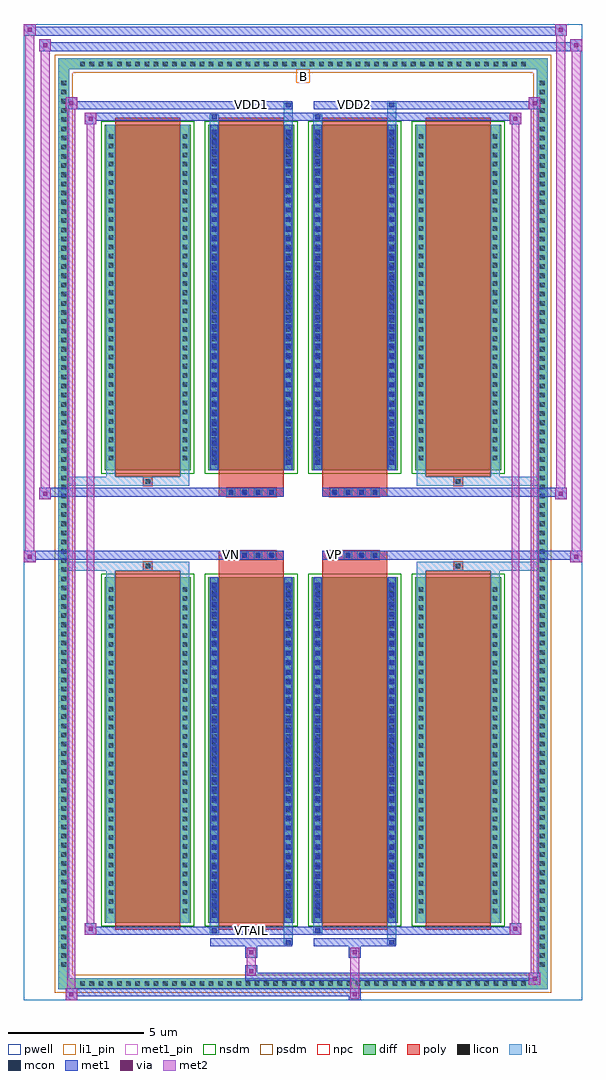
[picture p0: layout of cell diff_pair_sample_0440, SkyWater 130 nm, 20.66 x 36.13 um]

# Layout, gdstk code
import gdstk
lib = gdstk.Library(unit=1e-6, precision=5e-09)
def R(c, l, rs):  # rectangles x0, y0, x1, y1
    for r in rs: c.add(gdstk.rectangle(r[:2], r[2:], *l))
def A(c, l, x, y, w, h, nx, ny, dx, dy):  # array of equal rectangles
    R(c, l, [(x+i*dx, y+j*dy, x+i*dx+w, y+j*dy+h) for i in range(nx) for j in range(ny)])
def P(c, l, *ps):  # polygons
    for p in ps: c.add(gdstk.Polygon(p, *l))
pwell = (64, 44)
diff = (65, 20)
poly = (66, 20)
licon = (66, 44)
li1_pin = (67, 16)
li1 = (67, 20)
mcon = (67, 44)
met1_pin = (68, 16)
met1 = (68, 20)
via = (68, 44)
met2 = (69, 20)
nsdm = (93, 44)
psdm = (94, 20)
npc = (95, 20)

diff_pair_sample_0440 = lib.new_cell('diff_pair_sample_0440')
R(diff_pair_sample_0440, pwell, [(-10.33,-17.63,10.33,18.5), (-7.65,-15.82,-0.01,-0.8), (0.01,-15.82,7.65,-0.8), (-7.65,0.8,-0.01,15.82), (0.01,0.8,7.65,15.82)])
A(diff_pair_sample_0440, diff, -8.365, -17.23, 0.41, 0.41, 49, 2, 0.34, 34.05)
A(diff_pair_sample_0440, diff, -9.06, -16.525, 0.41, 0.41, 1, 97, 0, 0.34)
A(diff_pair_sample_0440, diff, 8.65, -16.525, 0.41, 0.41, 1, 97, 0, 0.34)
A(diff_pair_sample_0440, diff, -7.34, -14.775, 3.19, 12.79, 4, 2, 3.83, 16.76)
R(diff_pair_sample_0440, diff, [(-8.365,-17.23,8.365,-16.82), (-9.06,-16.525,-8.65,16.525), (8.65,-16.525,9.06,16.525), (-8.365,16.82,8.365,17.23)])
P(diff_pair_sample_0440, diff, [(9.06,17.23),(-9.06,17.23),(-9.06,-16.82),(-8.65,-16.82),(-8.65,16.82),(8.65,16.82),(8.65,-16.82),(-8.65,-16.82),(-9.06,-16.82),(-9.06,-17.23),(9.06,-17.23)])
A(diff_pair_sample_0440, poly, -6.95, -15.025, 2.41, 13.29, 4, 2, 3.83, 16.76)
A(diff_pair_sample_0440, poly, -2.83, -1.33, 0.33, 0.33, 4, 2, 0.5, 2.33)
A(diff_pair_sample_0440, poly, 1, -1.33, 0.33, 0.33, 4, 2, 0.5, 2.33)
R(diff_pair_sample_0440, poly, [(-5.91,-1.735,-5.58,-1.405), (-5.91,-1.735,-5.58,-1.405), (-3.12,-1.735,-0.71,-1.33), (0.71,-1.735,3.12,-1.33), (5.58,-1.735,5.91,-1.405), (5.58,-1.735,5.91,-1.405), (-3.12,-1.33,-0.71,-1), (0.71,-1.33,3.12,-1), (-3.12,1,-0.71,1.33), (0.71,1,3.12,1.33), (-3.12,1.33,-0.71,1.735), (0.71,1.33,3.12,1.735), (-5.91,1.405,-5.58,1.735), (-5.91,1.405,-5.58,1.735), (5.58,1.405,5.91,1.735), (5.58,1.405,5.91,1.735)])
A(diff_pair_sample_0440, licon, -8.245, -17.11, 0.17, 0.17, 49, 2, 0.34, 34.05)
A(diff_pair_sample_0440, licon, -8.94, -16.405, 0.17, 0.17, 1, 97, 0, 0.34)
A(diff_pair_sample_0440, licon, 8.77, -16.405, 0.17, 0.17, 1, 97, 0, 0.34)
A(diff_pair_sample_0440, licon, -7.2, -14.415, 0.17, 0.17, 1, 36, 0, 0.34)
A(diff_pair_sample_0440, licon, -4.46, -14.415, 0.17, 0.17, 1, 36, 0, 0.34)
A(diff_pair_sample_0440, licon, -3.37, -14.415, 0.17, 0.17, 1, 36, 0, 0.34)
A(diff_pair_sample_0440, licon, -0.63, -14.415, 0.17, 0.17, 1, 36, 0, 0.34)
A(diff_pair_sample_0440, licon, 0.46, -14.415, 0.17, 0.17, 1, 36, 0, 0.34)
A(diff_pair_sample_0440, licon, 3.2, -14.415, 0.17, 0.17, 1, 36, 0, 0.34)
A(diff_pair_sample_0440, licon, 4.29, -14.415, 0.17, 0.17, 1, 36, 0, 0.34)
A(diff_pair_sample_0440, licon, 7.03, -14.415, 0.17, 0.17, 1, 36, 0, 0.34)
A(diff_pair_sample_0440, licon, -2.75, -1.25, 0.17, 0.17, 4, 2, 0.5, 2.33)
A(diff_pair_sample_0440, licon, 1.08, -1.25, 0.17, 0.17, 4, 2, 0.5, 2.33)
A(diff_pair_sample_0440, licon, -7.2, 2.345, 0.17, 0.17, 1, 36, 0, 0.34)
A(diff_pair_sample_0440, licon, -4.46, 2.345, 0.17, 0.17, 1, 36, 0, 0.34)
A(diff_pair_sample_0440, licon, -3.37, 2.345, 0.17, 0.17, 1, 36, 0, 0.34)
A(diff_pair_sample_0440, licon, -0.63, 2.345, 0.17, 0.17, 1, 36, 0, 0.34)
A(diff_pair_sample_0440, licon, 0.46, 2.345, 0.17, 0.17, 1, 36, 0, 0.34)
A(diff_pair_sample_0440, licon, 3.2, 2.345, 0.17, 0.17, 1, 36, 0, 0.34)
A(diff_pair_sample_0440, licon, 4.29, 2.345, 0.17, 0.17, 1, 36, 0, 0.34)
A(diff_pair_sample_0440, licon, 7.03, 2.345, 0.17, 0.17, 1, 36, 0, 0.34)
R(diff_pair_sample_0440, licon, [(-5.83,-1.655,-5.66,-1.485), (5.66,-1.655,5.83,-1.485), (-5.83,1.485,-5.66,1.655), (5.66,1.485,5.83,1.655)])
R(diff_pair_sample_0440, li1_pin, [(-0.25,16.32,0.25,16.82)])
A(diff_pair_sample_0440, li1, -8.325, -17.19, 0.33, 0.33, 49, 2, 0.34, 34.05)
A(diff_pair_sample_0440, li1, -9.02, -16.485, 0.33, 0.33, 1, 97, 0, 0.34)
A(diff_pair_sample_0440, li1, 8.69, -16.485, 0.33, 0.33, 1, 97, 0, 0.34)
A(diff_pair_sample_0440, li1, -3.37, -14.585, 0.17, 0.17, 1, 35, 0, 0.36)
A(diff_pair_sample_0440, li1, -0.63, -14.585, 0.17, 0.17, 1, 35, 0, 0.36)
A(diff_pair_sample_0440, li1, 0.46, -14.585, 0.17, 0.17, 1, 35, 0, 0.36)
A(diff_pair_sample_0440, li1, 3.2, -14.585, 0.17, 0.17, 1, 35, 0, 0.36)
A(diff_pair_sample_0440, li1, -7.28, -14.495, 0.33, 0.33, 1, 36, 0, 0.34)
A(diff_pair_sample_0440, li1, -4.54, -14.495, 0.33, 0.33, 1, 36, 0, 0.34)
A(diff_pair_sample_0440, li1, -3.45, -14.495, 0.33, 0.33, 1, 36, 0, 0.34)
A(diff_pair_sample_0440, li1, -0.71, -14.495, 0.33, 0.33, 1, 36, 0, 0.34)
A(diff_pair_sample_0440, li1, 0.38, -14.495, 0.33, 0.33, 1, 36, 0, 0.34)
A(diff_pair_sample_0440, li1, 3.12, -14.495, 0.33, 0.33, 1, 36, 0, 0.34)
A(diff_pair_sample_0440, li1, 4.21, -14.495, 0.33, 0.33, 1, 36, 0, 0.34)
A(diff_pair_sample_0440, li1, 6.95, -14.495, 0.33, 0.33, 1, 36, 0, 0.34)
A(diff_pair_sample_0440, li1, -2.83, -1.33, 0.33, 0.33, 4, 2, 0.5, 2.33)
A(diff_pair_sample_0440, li1, 1, -1.33, 0.33, 0.33, 4, 2, 0.5, 2.33)
A(diff_pair_sample_0440, li1, -3.37, 2.175, 0.17, 0.17, 1, 35, 0, 0.36)
A(diff_pair_sample_0440, li1, -0.63, 2.175, 0.17, 0.17, 1, 35, 0, 0.36)
A(diff_pair_sample_0440, li1, 0.46, 2.175, 0.17, 0.17, 1, 35, 0, 0.36)
A(diff_pair_sample_0440, li1, 3.2, 2.175, 0.17, 0.17, 1, 35, 0, 0.36)
A(diff_pair_sample_0440, li1, -7.28, 2.265, 0.33, 0.33, 1, 36, 0, 0.34)
A(diff_pair_sample_0440, li1, -4.54, 2.265, 0.33, 0.33, 1, 36, 0, 0.34)
A(diff_pair_sample_0440, li1, -3.45, 2.265, 0.33, 0.33, 1, 36, 0, 0.34)
A(diff_pair_sample_0440, li1, -0.71, 2.265, 0.33, 0.33, 1, 36, 0, 0.34)
A(diff_pair_sample_0440, li1, 0.38, 2.265, 0.33, 0.33, 1, 36, 0, 0.34)
A(diff_pair_sample_0440, li1, 3.12, 2.265, 0.33, 0.33, 1, 36, 0, 0.34)
A(diff_pair_sample_0440, li1, 4.21, 2.265, 0.33, 0.33, 1, 36, 0, 0.34)
A(diff_pair_sample_0440, li1, 6.95, 2.265, 0.33, 0.33, 1, 36, 0, 0.34)
R(diff_pair_sample_0440, li1, [(-9.06,-17.23,-8.65,-16.82), (-9.06,-17.23,-8.65,-16.82), (-8.65,-17.23,8.65,-16.82), (8.65,-17.23,9.06,-16.82), (8.65,-17.23,9.06,-16.82), (-9.06,-16.82,-8.65,16.82), (8.65,-16.82,9.06,16.82), (-0.71,-15.58,-0.38,-14.775), (-0.63,-15.58,-0.46,-15.41), (3.12,-15.58,3.45,-14.775), (3.2,-15.58,3.37,-15.41), (-3.45,-15.15,-3.12,-14.775), (-3.37,-15.15,-3.2,-14.98), (0.38,-15.15,0.71,-14.775), (0.46,-15.15,0.63,-14.98), (-7.28,-14.775,-6.95,-1.985), (-4.54,-14.775,-4.21,-1.985), (-3.45,-14.775,-3.12,-1.985), (-0.71,-14.775,-0.38,-1.985), (0.38,-14.775,0.71,-1.985), (3.12,-14.775,3.45,-1.985), (4.21,-14.775,4.54,-1.985), (6.95,-14.775,7.28,-1.985), (-3.37,-14.585,-3.2,-2.175), (-0.63,-14.585,-0.46,-2.175), (0.46,-14.585,0.63,-2.175), (3.2,-14.585,3.37,-2.175), (-7.28,-1.985,-6.95,-1.405), (-4.54,-1.985,-4.21,-1.405), (4.21,-1.985,4.54,-1.405), (6.95,-1.985,7.28,-1.405), (-9.06,-1.735,-5.91,-1.405), (-7.28,-1.735,-5.91,-1.405), (-5.91,-1.735,-5.58,-1.405), (-5.58,-1.735,-4.21,-1.405), (4.21,-1.735,5.58,-1.405), (5.58,-1.735,5.91,-1.405), (5.58,-1.735,9.06,-1.405), (5.91,-1.735,7.28,-1.405), (-9.06,1.405,-5.91,1.735), (-7.28,1.405,-5.91,1.735), (-7.28,1.405,-6.95,1.985), (-5.91,1.405,-5.58,1.735), (-5.58,1.405,-4.21,1.735), (-4.54,1.405,-4.21,1.985), (4.21,1.405,5.58,1.735), (4.21,1.405,4.54,1.985), (5.58,1.405,5.91,1.735), (5.58,1.405,9.06,1.735), (5.91,1.405,7.28,1.735), (6.95,1.405,7.28,1.985), (-7.28,1.985,-6.95,14.775), (-4.54,1.985,-4.21,14.775), (-3.45,1.985,-3.12,14.775), (-0.71,1.985,-0.38,14.775), (0.38,1.985,0.71,14.775), (3.12,1.985,3.45,14.775), (4.21,1.985,4.54,14.775), (6.95,1.985,7.28,14.775), (-3.37,2.175,-3.2,14.585), (-0.63,2.175,-0.46,14.585), (0.46,2.175,0.63,14.585), (3.2,2.175,3.37,14.585), (-3.45,14.775,-3.12,15.15), (-0.71,14.775,-0.38,15.58), (0.38,14.775,0.71,15.15), (3.12,14.775,3.45,15.58), (-3.37,14.98,-3.2,15.15), (0.46,14.98,0.63,15.15), (-0.63,15.41,-0.46,15.58), (3.2,15.41,3.37,15.58), (-9.06,16.82,-8.65,17.23), (-9.06,16.82,-8.65,17.23), (-8.65,16.82,8.65,17.23), (8.65,16.82,9.06,17.23), (8.65,16.82,9.06,17.23)])
A(diff_pair_sample_0440, mcon, -3.37, -14.585, 0.17, 0.17, 1, 35, 0, 0.36)
A(diff_pair_sample_0440, mcon, -0.63, -14.585, 0.17, 0.17, 1, 35, 0, 0.36)
A(diff_pair_sample_0440, mcon, 0.46, -14.585, 0.17, 0.17, 1, 35, 0, 0.36)
A(diff_pair_sample_0440, mcon, 3.2, -14.585, 0.17, 0.17, 1, 35, 0, 0.36)
A(diff_pair_sample_0440, mcon, -2.75, -1.25, 0.17, 0.17, 4, 2, 0.5, 2.33)
A(diff_pair_sample_0440, mcon, 1.08, -1.25, 0.17, 0.17, 4, 2, 0.5, 2.33)
A(diff_pair_sample_0440, mcon, -3.37, 2.175, 0.17, 0.17, 1, 35, 0, 0.36)
A(diff_pair_sample_0440, mcon, -0.63, 2.175, 0.17, 0.17, 1, 35, 0, 0.36)
A(diff_pair_sample_0440, mcon, 0.46, 2.175, 0.17, 0.17, 1, 35, 0, 0.36)
A(diff_pair_sample_0440, mcon, 3.2, 2.175, 0.17, 0.17, 1, 35, 0, 0.36)
R(diff_pair_sample_0440, mcon, [(-0.63,-15.58,-0.46,-15.41), (3.2,-15.58,3.37,-15.41), (-3.37,-15.15,-3.2,-14.98), (0.46,-15.15,0.63,-14.98), (-3.37,14.98,-3.2,15.15), (0.46,14.98,0.63,15.15), (-0.63,15.41,-0.46,15.58), (3.2,15.41,3.37,15.58)])
R(diff_pair_sample_0440, met1_pin, [(-2.05,-15.19,-1.78,-14.92), (-2.8,-1.29,-2.53,-1.02), (1.03,-1.29,1.3,-1.02), (-2.05,15.37,-1.78,15.64), (1.78,15.37,2.05,15.64)])
A(diff_pair_sample_0440, met1, -3.43, -14.645, 0.29, 0.29, 1, 35, 0, 0.36)
A(diff_pair_sample_0440, met1, -0.69, -14.645, 0.29, 0.29, 1, 35, 0, 0.36)
A(diff_pair_sample_0440, met1, 0.4, -14.645, 0.29, 0.29, 1, 35, 0, 0.36)
A(diff_pair_sample_0440, met1, 3.14, -14.645, 0.29, 0.29, 1, 35, 0, 0.36)
A(diff_pair_sample_0440, met1, -2.81, -1.31, 0.29, 0.29, 4, 2, 0.5, 2.33)
A(diff_pair_sample_0440, met1, 1.02, -1.31, 0.29, 0.29, 4, 2, 0.5, 2.33)
A(diff_pair_sample_0440, met1, -3.43, 2.115, 0.29, 0.29, 1, 35, 0, 0.36)
A(diff_pair_sample_0440, met1, -0.69, 2.115, 0.29, 0.29, 1, 35, 0, 0.36)
A(diff_pair_sample_0440, met1, 0.4, 2.115, 0.29, 0.29, 1, 35, 0, 0.36)
A(diff_pair_sample_0440, met1, 3.14, 2.115, 0.29, 0.29, 1, 35, 0, 0.36)
R(diff_pair_sample_0440, met1, [(-8.79,-17.63,-8.36,-17.2), (1.7,-17.63,2.13,-17.2), (-8.79,-17.49,2.13,-17.2), (8.36,-17.06,8.79,-16.63), (-2.13,-16.92,8.79,-16.63), (-2.13,-16.78,-1.7,-16.35), (-2.13,-16.07,-1.7,-15.64), (1.7,-16.07,2.13,-15.64), (-3.43,-15.64,-0.4,-15.35), (-0.69,-15.64,-0.4,-15.35), (0.4,-15.64,3.43,-15.35), (3.14,-15.64,3.43,-15.35), (-8.08,-15.21,-7.65,-14.78), (-8.08,-15.21,-3.43,-14.92), (-3.43,-15.21,-3.14,-14.92), (-3.43,-15.21,-0.4,-14.92), (-0.4,-15.21,0.4,-14.92), (0.4,-15.21,0.69,-14.92), (0.4,-15.21,3.43,-14.92), (3.43,-15.21,8.08,-14.92), (7.65,-15.21,8.08,-14.78), (-3.43,-14.775,-3.14,-1.985), (-0.69,-14.775,-0.4,-1.985), (0.4,-14.775,0.69,-1.985), (3.14,-14.775,3.43,-1.985), (-10.33,-1.43,-9.9,-1), (9.9,-1.43,10.33,-1), (-10.33,-1.33,-0.71,-1), (-3.12,-1.33,-0.71,-1), (0.71,-1.33,3.12,-1), (0.71,-1.33,10.33,-1), (-9.76,0.9,-9.33,1.33), (9.33,0.9,9.76,1.33), (-9.76,1,-3.12,1.33), (-3.12,1,-0.71,1.33), (0.71,1,3.12,1.33), (3.12,1,9.76,1.33), (-3.43,1.985,-3.14,14.775), (-0.69,1.985,-0.4,14.775), (0.4,1.985,0.69,14.775), (3.14,1.985,3.43,14.775), (-8.08,14.78,-7.65,15.21), (7.65,14.78,8.08,15.21), (-8.08,14.92,-3.43,15.21), (-3.43,14.92,-3.14,15.21), (-3.43,14.92,-0.4,15.21), (-0.4,14.92,0.4,15.21), (0.4,14.92,0.69,15.21), (0.4,14.92,3.43,15.21), (3.43,14.92,8.08,15.21), (-8.79,15.35,-8.36,15.78), (-8.79,15.35,-3.43,15.64), (-3.43,15.35,-0.4,15.64), (-0.69,15.35,-0.4,15.64), (0.4,15.35,3.43,15.64), (3.14,15.35,3.43,15.64), (3.43,15.35,8.79,15.64), (8.36,15.35,8.79,15.78), (-9.76,17.5,-9.33,17.93), (-9.76,17.5,-7.65,17.83), (-7.65,17.5,7.65,17.83), (7.65,17.5,10.33,17.83), (9.9,17.5,10.33,17.93), (-10.33,18.07,-9.9,18.5), (-10.33,18.07,-7.65,18.4), (-7.65,18.07,7.65,18.4), (7.65,18.07,9.76,18.4), (9.33,18.07,9.76,18.5)])
R(diff_pair_sample_0440, via, [(-8.65,-17.49,-8.5,-17.34), (1.84,-17.49,1.99,-17.34), (8.5,-16.92,8.65,-16.77), (-1.99,-16.64,-1.84,-16.49), (-1.99,-15.93,-1.84,-15.78), (1.84,-15.93,1.99,-15.78), (-7.94,-15.07,-7.79,-14.92), (7.79,-15.07,7.94,-14.92), (-10.19,-1.29,-10.04,-1.14), (10.04,-1.29,10.19,-1.14), (-9.62,1.04,-9.47,1.19), (9.47,1.04,9.62,1.19), (-7.94,14.92,-7.79,15.07), (7.79,14.92,7.94,15.07), (-8.65,15.49,-8.5,15.64), (8.5,15.49,8.65,15.64), (-9.62,17.64,-9.47,17.79), (10.04,17.64,10.19,17.79), (-10.19,18.21,-10.04,18.36), (9.47,18.21,9.62,18.36)])
R(diff_pair_sample_0440, met2, [(-8.79,-17.63,-8.36,-17.2), (-8.72,-17.63,-8.43,15.78), (-8.43,-17.63,-8.36,-17.2), (-8.74,-17.58,-8.41,-17.25), (1.75,-17.58,2.08,-17.25), (1.75,-17.25,2.08,-16.02), (8.36,-17.06,8.79,-16.63), (8.43,-17.06,8.72,15.78), (8.72,-17.06,8.79,-16.63), (8.41,-17.01,8.74,-16.68), (-2.08,-16.73,-1.75,-16.4), (-2.08,-16.4,-1.75,-16.02), (-2.08,-16.02,-1.75,-15.69), (1.75,-16.02,2.08,-15.69), (-8.08,-15.21,-7.65,-14.78), (-8.01,-15.21,-7.72,15.21), (-7.72,-15.21,-7.65,-14.78), (7.65,-15.21,8.08,-14.78), (7.72,-15.21,8.01,15.21), (8.01,-15.21,8.08,-14.78), (-8.03,-15.16,-7.7,-14.83), (7.7,-15.16,8.03,-14.83), (-10.33,-1.43,-9.9,-1), (-10.28,-1.43,-9.95,18.5), (-9.95,-1.43,-9.9,-1), (9.9,-1.43,10.33,-1), (9.95,-1.43,10.28,17.93), (10.28,-1.43,10.33,-1), (-10.28,-1.38,-9.95,-1.05), (9.95,-1.38,10.28,-1.05), (-9.76,0.9,-9.33,1.33), (-9.71,0.9,-9.38,17.93), (-9.38,0.9,-9.33,1.33), (9.33,0.9,9.76,1.33), (9.38,0.9,9.71,18.5), (9.71,0.9,9.76,1.33), (-9.71,0.95,-9.38,1.28), (9.38,0.95,9.71,1.28), (-8.08,14.78,-7.65,15.21), (-7.72,14.78,-7.65,15.21), (7.65,14.78,8.08,15.21), (8.01,14.78,8.08,15.21), (-8.03,14.83,-7.7,15.16), (7.7,14.83,8.03,15.16), (-8.79,15.35,-8.36,15.78), (-8.43,15.35,-8.36,15.78), (8.36,15.35,8.79,15.78), (8.72,15.35,8.79,15.78), (-8.74,15.4,-8.41,15.73), (8.41,15.4,8.74,15.73), (-9.76,17.5,-9.33,17.93), (-9.38,17.5,-9.33,17.93), (9.9,17.5,10.33,17.93), (10.28,17.5,10.33,17.93), (-9.71,17.55,-9.38,17.88), (9.95,17.55,10.28,17.88), (-10.33,18.07,-9.9,18.5), (-9.95,18.07,-9.9,18.5), (9.33,18.07,9.76,18.5), (9.71,18.07,9.76,18.5), (-10.28,18.12,-9.95,18.45), (9.38,18.12,9.71,18.45)])
A(diff_pair_sample_0440, nsdm, -7.47, -14.905, 3.45, 13.05, 4, 2, 3.83, 16.76)
P(diff_pair_sample_0440, psdm, [(9.19,17.36),(-9.19,17.36),(-9.19,-16.69),(-8.52,-16.69),(-8.52,16.69),(8.52,16.69),(8.52,-16.69),(-8.52,-16.69),(-9.19,-16.69),(-9.19,-17.36),(9.19,-17.36)])
A(diff_pair_sample_0440, npc, -2.85, -1.35, 0.37, 0.37, 4, 2, 0.5, 2.33)
A(diff_pair_sample_0440, npc, 0.98, -1.35, 0.37, 0.37, 4, 2, 0.5, 2.33)
R(diff_pair_sample_0440, npc, [(-5.93,-1.755,-5.56,-1.385), (5.56,-1.755,5.93,-1.385), (-2.85,-1.35,-1.98,-0.98), (-2.85,-1.35,-1.98,-0.98), (-2.35,-1.35,-1.48,-0.98), (-2.35,-1.35,-1.48,-0.98), (-1.85,-1.35,-0.98,-0.98), (-1.85,-1.35,-0.98,-0.98), (0.98,-1.35,1.85,-0.98), (0.98,-1.35,1.85,-0.98), (1.48,-1.35,2.35,-0.98), (1.48,-1.35,2.35,-0.98), (1.98,-1.35,2.85,-0.98), (1.98,-1.35,2.85,-0.98), (-2.85,0.98,-1.98,1.35), (-2.85,0.98,-1.98,1.35), (-2.35,0.98,-1.48,1.35), (-2.35,0.98,-1.48,1.35), (-1.85,0.98,-0.98,1.35), (-1.85,0.98,-0.98,1.35), (0.98,0.98,1.85,1.35), (0.98,0.98,1.85,1.35), (1.48,0.98,2.35,1.35), (1.48,0.98,2.35,1.35), (1.98,0.98,2.85,1.35), (1.98,0.98,2.85,1.35), (-5.93,1.385,-5.56,1.755), (5.56,1.385,5.93,1.755)])
diff_pair_sample_0440.add(gdstk.Label('VTAIL', (-1.915,-15.055), layer=68, texttype=5))
diff_pair_sample_0440.add(gdstk.Label('VN', (-2.665,-1.155), layer=68, texttype=5))
diff_pair_sample_0440.add(gdstk.Label('VP', (1.165,-1.155), layer=68, texttype=5))
diff_pair_sample_0440.add(gdstk.Label('B', (0,16.57), layer=67, texttype=5))
diff_pair_sample_0440.add(gdstk.Label('VDD2', (1.915,15.505), layer=68, texttype=5))
diff_pair_sample_0440.add(gdstk.Label('VDD1', (-1.915,15.505), layer=68, texttype=5))

lib.write_gds('diff_pair_sample_0440.gds')
